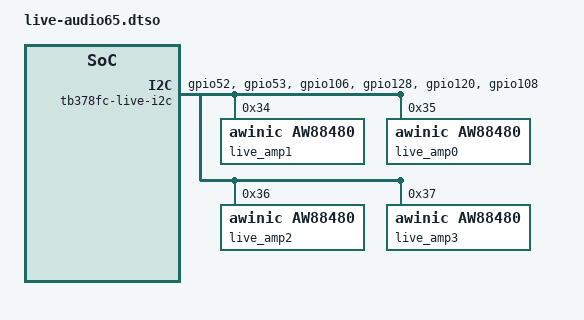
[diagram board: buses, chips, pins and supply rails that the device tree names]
// SPDX-License-Identifier: BSD-3-Clause
/dts-v1/;
/plugin/;

#include <dt-bindings/gpio/gpio.h>
#include <dt-bindings/sound/qcom,q6dsp-lpass-ports.h>

/ {
    fragment@0 {
        target-path = "/soc@0/pinctrl@f100000";
        __overlay__ {
            tb378fc_gpio_i2c_live: tb378fc-live-i2c-state {
                pins = "gpio52", "gpio53";
                function = "gpio";
                drive-strength = <2>;
                bias-pull-up;
            };
            tb378fc_resets_live: tb378fc-live-amp-resets-state {
                pins = "gpio106", "gpio128", "gpio120", "gpio108";
                function = "gpio";
                drive-strength = <2>;
                bias-disable;
            };
            tb378fc_tdm_live: tb378fc-live-tdm-state {
                sck-pins { pins = "gpio121"; function = "i2s1_sck"; drive-strength = <8>; bias-disable; };
                data0-pins { pins = "gpio122"; function = "i2s1_data0"; drive-strength = <8>; bias-disable; };
                ws-pins { pins = "gpio123"; function = "i2s1_ws"; drive-strength = <8>; bias-disable; };
                data1-pins { pins = "gpio124"; function = "i2s1_data1"; drive-strength = <8>; bias-disable; };
            };
        };
    };
    fragment@1 {
        target-path = "/soc@0/remoteproc@6800000/glink-edge/gpr";
        __overlay__ {
            #address-cells = <1>;
            #size-cells = <0>;
            /* Original nodes have no phandles; add a removable replacement. */
            service@1 { status = "disabled"; };
            q6apm_live: tb378fc-service@1 {
                compatible = "qcom,q6apm";
                reg = <1>;
                #sound-dai-cells = <0>;
                qcom,protection-domain = "avs/audio", "msm/adsp/audio_pd";
                q6bedai_live: bedais {
                    compatible = "qcom,q6apm-lpass-dais";
                    #sound-dai-cells = <1>;
                };
                dais {
                    compatible = "qcom,q6apm-dais";
                    /* Exact running baseline mapping, checked before apply. */
                    iommus = <0x29 0x1001 0x80>, <0x29 0x1041 0x20>;
                };
            };
        };
    };
    fragment@3 {
        target-path = "/";
        __overlay__ {
            tb378fc-live-i2c {
                compatible = "i2c-gpio";
                #address-cells = <1>;
                #size-cells = <0>;
                /* 0x37 is checked against this exact live tree before apply. */
                sda-gpios = <0x37 52 (GPIO_ACTIVE_HIGH | GPIO_OPEN_DRAIN)>;
                scl-gpios = <0x37 53 (GPIO_ACTIVE_HIGH | GPIO_OPEN_DRAIN)>;
                i2c-gpio,delay-us = <5>;
                pinctrl-names = "default";
                pinctrl-0 = <&tb378fc_gpio_i2c_live>, <&tb378fc_resets_live>;
                live_amp1: amplifier@34 {
                    compatible = "awinic,aw88480";
                    reg = <0x34>;
                    #sound-dai-cells = <0>;
                    sound-name-prefix = "Amp1";
                    awinic,audio-channel = <1>;
                    reset-gpios = <0x37 106 GPIO_ACTIVE_LOW>;
                    firmware-name = "awinic/tb378fc/aw88480-native-music.acf";
                };
                live_amp0: amplifier@35 {
                    compatible = "awinic,aw88480";
                    reg = <0x35>;
                    #sound-dai-cells = <0>;
                    sound-name-prefix = "Amp0";
                    awinic,audio-channel = <0>;
                    reset-gpios = <0x37 128 GPIO_ACTIVE_LOW>;
                    firmware-name = "awinic/tb378fc/aw88480-native-music.acf";
                };
                live_amp2: amplifier@36 {
                    compatible = "awinic,aw88480";
                    reg = <0x36>;
                    #sound-dai-cells = <0>;
                    sound-name-prefix = "Amp2";
                    awinic,audio-channel = <2>;
                    reset-gpios = <0x37 120 GPIO_ACTIVE_LOW>;
                    firmware-name = "awinic/tb378fc/aw88480-native-music.acf";
                };
                live_amp3: amplifier@37 {
                    compatible = "awinic,aw88480";
                    reg = <0x37>;
                    #sound-dai-cells = <0>;
                    sound-name-prefix = "Amp3";
                    awinic,audio-channel = <3>;
                    reset-gpios = <0x37 108 GPIO_ACTIVE_LOW>;
                    firmware-name = "awinic/tb378fc/aw88480-native-music.acf";
                };
            };
            tb378fc-live-sound {
                compatible = "qcom,sm8750-sndcard", "qcom,sm8450-sndcard";
                model = "Lenovo-TB378FC";
                widgets = "Speaker", "Speakers";
                audio-routing = "Speakers", "Amp0 OUT", "Speakers", "Amp1 OUT",
                                "Speakers", "Amp2 OUT", "Speakers", "Amp3 OUT";
                pinctrl-names = "default";
                pinctrl-0 = <&tb378fc_tdm_live>;
                speaker-playback-dai-link {
                    link-name = "Speaker Playback";
                    dai-format = "dsp_b";
                    convert-rate = <48000>;
                    convert-channels = <4>;
                    convert-sample-format = "s32_le";
                    cpu {
                        sound-dai = <&q6bedai_live SECONDARY_TDM_RX_0>;
                        dai-tdm-slot-num = <4>;
                        dai-tdm-slot-width = <32>;
                        dai-tdm-slot-rx-mask = <1 1 1 1>;
                    };
                    codec-0 { sound-dai = <&live_amp0>; dai-tdm-slot-tx-mask = <1>; dai-tdm-slot-rx-mask = <1>; bitclock-inversion; };
                    codec-1 { sound-dai = <&live_amp1>; dai-tdm-slot-tx-mask = <0 1>; dai-tdm-slot-rx-mask = <0 1>; bitclock-inversion; };
                    codec-2 { sound-dai = <&live_amp2>; dai-tdm-slot-tx-mask = <0 0 1>; dai-tdm-slot-rx-mask = <0 0 1>; bitclock-inversion; };
                    codec-3 { sound-dai = <&live_amp3>; dai-tdm-slot-tx-mask = <0 0 0 1>; dai-tdm-slot-rx-mask = <0 0 0 1>; bitclock-inversion; };
                    platform { sound-dai = <&q6apm_live>; };
                };
            };
        };
    };
};
